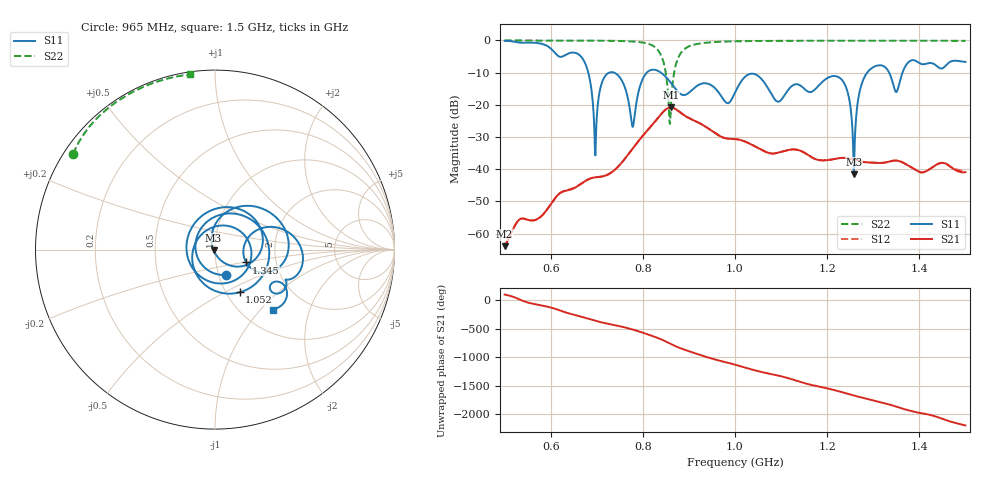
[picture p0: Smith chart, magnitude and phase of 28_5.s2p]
! TOUCHSTONE file generated by CST MICROWAVE STUDIO
! Date and time: Mon Nov 30 08:10:45 2020
! Project name: Scenario_1_Planar_Body_Tissue_Out_of_Line.cst
! Parameters = {dy1=121.1; L_HA=400; Ltissue=700; MT=2.54; Rad_Dielectric=30; Rad_Lower=7.3; Rad_Upper=30; Wtissue=700; a_HA=580; a_WG=246; b_HA=500; b_WG=121; c_HA=0; c_WG=187; d_feed=85; dx1=866; h_feed=15; h_lower=18; h_upper=40; hfat=3; hgap=25; hmuscle=50; hskin=1.5}
! Header version: 2018
! Port assignment regex: !\s*Touchstone port\s*([0-9]+)\s*=\s*(CST MWS port|CST DS port)\s*([0-9]+|Zmin|Zmax)\s*\(\"(.*)\"\)(\s*mode\s*([0-9]+))?.*
! Touchstone port assignment:
! Touchstone port 1 = CST MWS port 1 ("")
! Touchstone port 2 = CST MWS port 2 ("")
# GHz S DB R 50
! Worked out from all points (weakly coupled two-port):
!   1003 points, 500 MHz to 1.5 GHz, reference 50 ohm
!   highest |S21| = -20.81 dB at 861 MHz (marker M1); lowest = -63.9 dB at 500 MHz (marker M2)
!   lowest |S11| = -41.5 dB at 1.258 GHz (marker M3), VSWR 1.02, Z = 49.2 - j0.293 ohm
!   |S11| at or under -10 dB: 681.6 MHz to 726.9 MHz (45.25 MHz wide, 6.43 % of centre); 737.7 MHz to 808.6 MHz (70.98 MHz wide, 9.18 % of centre); 839.3 MHz to 1.287 GHz (447.6 MHz wide, 42.1 % of centre)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
!   |S22| runs from -26.0 to 0.0 dB; largest |S21 - S12| = 0.00065
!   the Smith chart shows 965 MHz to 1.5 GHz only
!   S11 on the Smith chart (normalised r, x): 965 MHz: 1.09, -0.31; 1.052 GHz: 1.15, -0.59; 1.345 GHz: 1.40, -0.21; 1.5 GHz: 1.37, -1.17
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0.5  -0.10 -122.1  -63.87 102.6  -63.87 102.6  -0.01 151.1
0.583  -1.15 -167.9  -54.06 -93.0  -54.12 -92.7  -0.02 145.4
0.667  -5.20 123.1  -44.40 71.7  -44.40 71.7  -0.04 138.4
0.697  -35.70 -63.7  -42.49 0.2  -42.50 0.2  -0.06 135.2
0.723  -10.33 169.5  -41.71 -49.1  -41.71 -49.1  -0.10 131.9
0.778  -26.85 -37.5  -33.53 -152.4  -33.53 -152.5  -0.33 121.0
0.802  -11.33 174.0  -29.25 146.0  -29.25 146.0  -0.71 111.9
0.834  -9.53 73.5  -23.85 54.0  -23.86 54.0  -3.24 84.6
0.861  -13.18 -14.2  -20.81 -47.1  -20.81 -47.1  -20.13 -112.9
0.885  -16.87 -115.4  -22.76 -131.6  -22.76 -131.6  -3.44 -177.5
0.922  -13.74 83.3  -25.60 127.1  -25.59 127.0  -0.98 157.2
0.965  -16.24 -65.5  -29.50 22.8  -29.50 22.8  -0.42 146.0
1  -16.20 111.2  -30.61 -49.6  -30.63 -49.6  -0.27 140.3
1.052  -11.23 -60.2  -33.56 -167.6  -33.52 -167.5  -0.16 134.2
1.167  -15.90 172.7  -36.32 -48.6  -36.32 -48.6  -0.09 124.2
1.231  -12.09 -5.1  -36.48 -170.9  -36.48 -170.9  -0.09 119.3
1.258  -41.54 -159.2  -36.95 127.2  -36.95 127.2  -0.08 117.3
1.282  -11.11 59.7  -37.78 77.9  -37.78 77.9  -0.08 115.5
1.334  -9.84 -23.3  -37.63 -28.6  -37.63 -28.6  -0.08 111.5
1.345  -14.51 -22.4  -37.31 -55.0  -37.31 -55.0  -0.09 110.7
1.382  -6.24 -2.3  -39.32 -144.2  -39.32 -144.2  -0.09 107.8
1.5  -6.67 -46.2  -40.88 -38.8  -40.88 -38.8  -0.13 98.0
